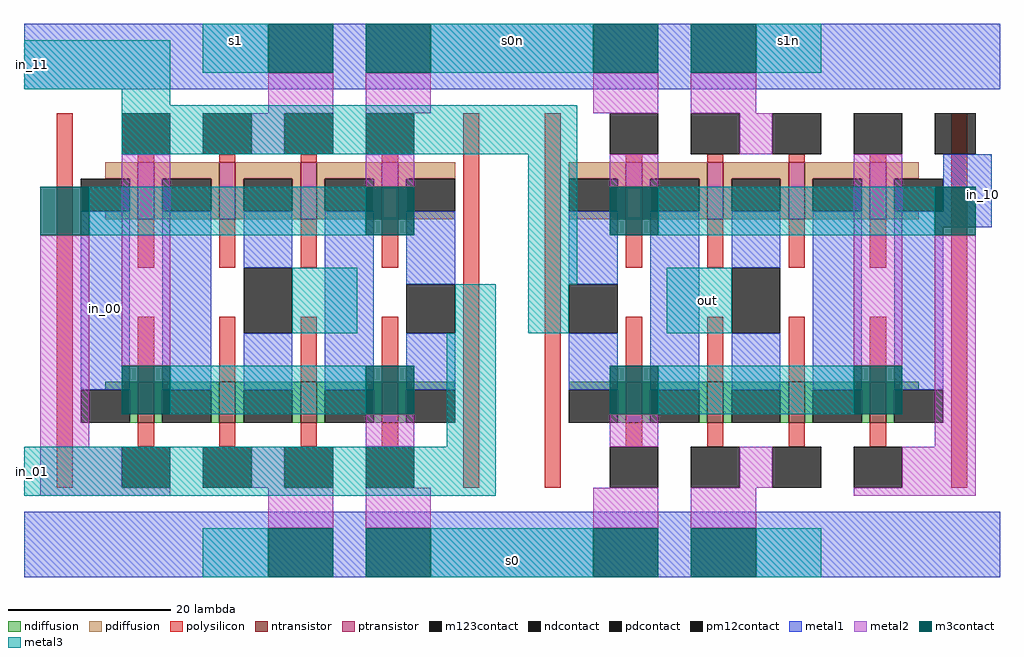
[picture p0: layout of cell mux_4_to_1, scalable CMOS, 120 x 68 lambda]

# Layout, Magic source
magic
tech scmos
<< ntransistor >>
rect 0 -43 2 -38
rect 10 -43 12 -38
rect 20 -43 22 -38
rect 30 -43 32 -38
rect 60 -43 62 -38
rect 70 -43 72 -38
rect 80 -43 82 -38
rect 90 -43 92 -38
<< ptransistor >>
rect 0 -18 2 -11
rect 10 -18 12 -11
rect 20 -18 22 -11
rect 30 -18 32 -11
rect 60 -18 62 -11
rect 70 -18 72 -11
rect 80 -18 82 -11
rect 90 -18 92 -11
<< ndiffusion >>
rect -4 -39 0 -38
rect -1 -43 0 -39
rect 2 -39 10 -38
rect 2 -43 3 -39
rect 9 -43 10 -39
rect 12 -39 20 -38
rect 12 -43 13 -39
rect 19 -43 20 -39
rect 22 -39 30 -38
rect 22 -43 23 -39
rect 29 -43 30 -39
rect 32 -39 39 -38
rect 32 -43 33 -39
rect 53 -39 60 -38
rect 59 -43 60 -39
rect 62 -39 70 -38
rect 62 -43 63 -39
rect 69 -43 70 -39
rect 72 -39 80 -38
rect 72 -43 73 -39
rect 79 -43 80 -39
rect 82 -39 90 -38
rect 82 -43 83 -39
rect 89 -43 90 -39
rect 92 -39 96 -38
rect 92 -43 93 -39
<< pdiffusion >>
rect -4 -13 0 -11
rect -1 -17 0 -13
rect -4 -18 0 -17
rect 2 -13 10 -11
rect 2 -17 3 -13
rect 9 -17 10 -13
rect 2 -18 10 -17
rect 12 -13 20 -11
rect 12 -17 13 -13
rect 19 -17 20 -13
rect 12 -18 20 -17
rect 22 -13 30 -11
rect 22 -17 23 -13
rect 29 -17 30 -13
rect 22 -18 30 -17
rect 32 -13 39 -11
rect 32 -17 33 -13
rect 32 -18 39 -17
rect 53 -13 60 -11
rect 59 -17 60 -13
rect 53 -18 60 -17
rect 62 -13 70 -11
rect 62 -17 63 -13
rect 69 -17 70 -13
rect 62 -18 70 -17
rect 72 -13 80 -11
rect 72 -17 73 -13
rect 79 -17 80 -13
rect 72 -18 80 -17
rect 82 -13 90 -11
rect 82 -17 83 -13
rect 89 -17 90 -13
rect 82 -18 90 -17
rect 92 -13 96 -11
rect 92 -17 93 -13
rect 92 -18 96 -17
<< ndcontact >>
rect -7 -43 -1 -39
rect 3 -43 9 -39
rect 13 -43 19 -39
rect 23 -43 29 -39
rect 33 -43 39 -39
rect 53 -43 59 -39
rect 63 -43 69 -39
rect 73 -43 79 -39
rect 83 -43 89 -39
rect 93 -43 99 -39
<< pdcontact >>
rect -7 -17 -1 -13
rect 3 -17 9 -13
rect 13 -17 19 -13
rect 23 -17 29 -13
rect 33 -17 39 -13
rect 53 -17 59 -13
rect 63 -17 69 -13
rect 73 -17 79 -13
rect 83 -17 89 -13
rect 93 -17 99 -13
<< polysilicon >>
rect -10 -51 -8 -5
rect 0 -11 2 -10
rect 10 -11 12 -10
rect 20 -11 22 -10
rect 30 -11 32 -10
rect 0 -24 2 -18
rect 10 -24 12 -18
rect 20 -24 22 -18
rect 30 -24 32 -18
rect 0 -38 2 -30
rect 10 -38 12 -30
rect 20 -38 22 -30
rect 30 -38 32 -30
rect 0 -46 2 -43
rect 10 -46 12 -43
rect 20 -46 22 -43
rect 30 -46 32 -43
rect 40 -51 42 -5
rect 50 -51 52 -5
rect 60 -11 62 -10
rect 70 -11 72 -10
rect 80 -11 82 -10
rect 90 -11 92 -10
rect 60 -24 62 -18
rect 70 -24 72 -18
rect 80 -24 82 -18
rect 90 -24 92 -18
rect 60 -38 62 -30
rect 70 -38 72 -30
rect 80 -38 82 -30
rect 90 -38 92 -30
rect 60 -46 62 -43
rect 70 -46 72 -43
rect 80 -46 82 -43
rect 90 -46 92 -43
rect 100 -51 102 -5
<< metal1 >>
rect -14 -2 106 6
rect -7 -39 -1 -17
rect 3 -39 9 -17
rect 13 -24 19 -17
rect 13 -39 19 -32
rect 23 -39 29 -17
rect 33 -26 39 -17
rect 33 -39 39 -32
rect 53 -26 59 -17
rect 53 -39 59 -32
rect 63 -39 69 -17
rect 73 -24 79 -17
rect 73 -39 79 -32
rect 83 -39 89 -17
rect 99 -17 105 -10
rect 93 -19 105 -17
rect 93 -39 99 -19
rect -14 -62 106 -54
<< pm12contact >>
rect -2 -10 4 -5
rect 8 -10 14 -5
rect 18 -10 24 -5
rect 28 -10 34 -5
rect 58 -10 64 -5
rect 68 -10 74 -5
rect 78 -10 84 -5
rect 88 -10 94 -5
rect -2 -51 4 -46
rect 8 -51 14 -46
rect 18 -51 24 -46
rect 28 -51 34 -46
rect 58 -51 64 -46
rect 68 -51 74 -46
rect 78 -51 84 -46
rect 88 -51 94 -46
<< metal2 >>
rect 16 -5 24 0
rect 14 -10 18 -5
rect 28 -5 36 0
rect 56 -5 64 0
rect -12 -46 -6 -20
rect -2 -36 4 -10
rect 28 -14 34 -10
rect 68 -5 76 0
rect 74 -10 78 -5
rect 58 -14 64 -10
rect 88 -36 94 -10
rect 28 -46 34 -42
rect -12 -51 -2 -46
rect 14 -51 18 -46
rect -12 -52 4 -51
rect 16 -56 24 -51
rect 58 -46 64 -42
rect 98 -46 103 -20
rect 28 -56 36 -51
rect 56 -56 64 -51
rect 74 -51 78 -46
rect 94 -51 103 -46
rect 68 -56 76 -51
rect 88 -52 103 -51
<< m3contact >>
rect 16 0 24 6
rect 28 0 36 6
rect 56 0 64 6
rect -12 -20 -6 -14
rect 28 -20 34 -14
rect 68 0 76 6
rect 58 -20 64 -14
rect -2 -42 4 -36
rect 28 -42 34 -36
rect 16 -62 24 -56
rect 58 -42 64 -36
rect 88 -42 94 -36
rect 98 -20 103 -14
rect 28 -62 36 -56
rect 56 -62 64 -56
rect 68 -62 76 -56
<< m123contact >>
rect 98 -10 103 -5
rect 13 -32 19 -24
rect 33 -32 39 -26
rect 53 -32 59 -26
rect 73 -32 79 -24
<< metal3 >>
rect -14 -2 4 4
rect 8 0 16 6
rect 36 0 56 6
rect 76 0 84 6
rect -2 -4 4 -2
rect -2 -10 54 -4
rect -6 -20 28 -14
rect 19 -32 27 -24
rect 48 -26 54 -10
rect 64 -20 98 -14
rect 39 -32 44 -26
rect 48 -32 53 -26
rect 65 -32 73 -24
rect 4 -42 28 -36
rect 38 -46 44 -32
rect 64 -42 88 -36
rect -14 -52 44 -46
rect 8 -62 16 -56
rect 36 -62 56 -56
rect 76 -62 84 -56
<< labels >>
rlabel metal3 70 -28 70 -28 1 out
rlabel metal3 12 4 12 4 5 s1
rlabel metal3 80 4 80 4 5 s1n
rlabel metal3 46 4 46 4 5 s0n
rlabel metal3 46 -60 46 -60 1 s0
rlabel metal1 -4 -29 -4 -29 1 in_00
rlabel metal3 -13 1 -13 1 4 in_11
rlabel metal3 -13 -49 -13 -49 3 in_01
rlabel metal1 104 -15 104 -15 7 in_10
<< end >>
